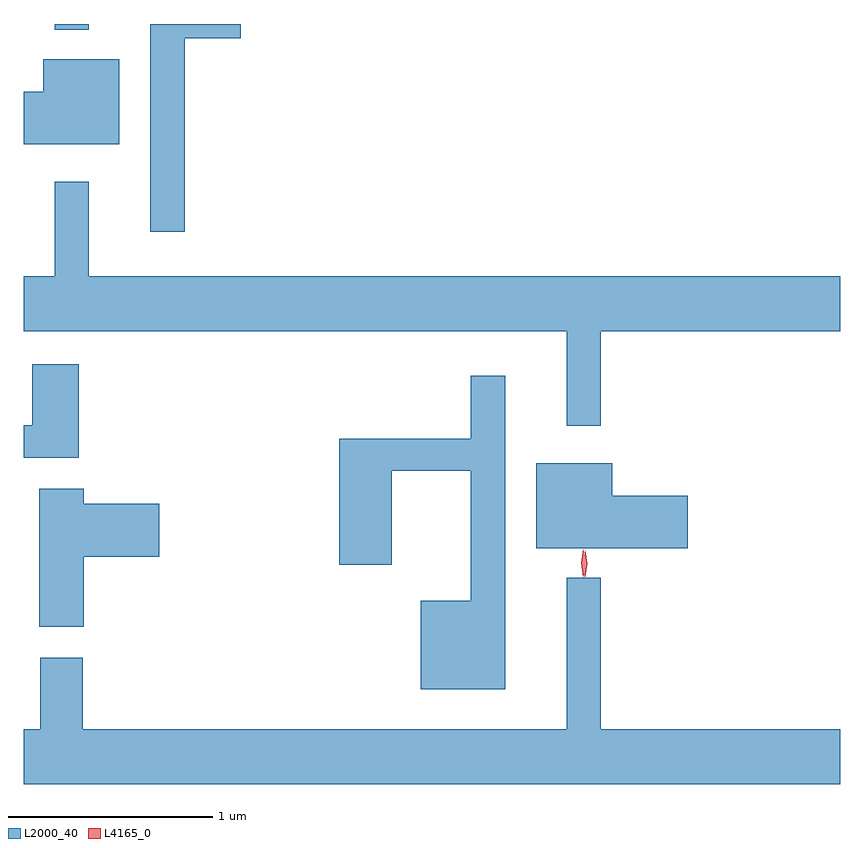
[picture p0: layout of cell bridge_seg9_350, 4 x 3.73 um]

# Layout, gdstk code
import gdstk
lib = gdstk.Library(unit=1e-6, precision=1e-09)
def R(c, l, rs):  # rectangles x0, y0, x1, y1
    for r in rs: c.add(gdstk.rectangle(r[:2], r[2:], *l))
def P(c, l, *ps):  # polygons
    for p in ps: c.add(gdstk.Polygon(p, *l))
L2000_40 = (2000, 40)
L4165_0 = (4165, 0)

bridge_seg9_350 = lib.new_cell('bridge_seg9_350')
R(bridge_seg9_350, L2000_40, [(744.821,1948.893,744.989,1948.921)])
P(bridge_seg9_350, L2000_40, [(745.459,1948.851),(745.734,1948.851),(745.734,1948.921),(745.291,1948.921),(745.291,1947.903),(745.459,1947.903)],
  [(745.139,1948.749),(744.766,1948.749),(744.766,1948.589),(744.671,1948.589),(744.671,1948.331),(745.139,1948.331)],
  [(747.499,1947.416),(748.671,1947.416),(748.671,1947.684),(744.989,1947.684),(744.989,1948.148),(744.821,1948.148),(744.821,1947.684),(744.671,1947.684),(744.671,1947.416),(747.331,1947.416),(747.331,1946.953),(747.499,1946.953)],
  [(744.939,1947.254),(744.711,1947.254),(744.711,1946.954),(744.671,1946.954),(744.671,1946.796),(744.939,1946.796)],
  [(747.029,1947.198),(746.861,1947.198),(746.861,1946.889),(746.216,1946.889),(746.216,1946.271),(746.474,1946.271),(746.474,1946.731),(746.861,1946.731),(746.861,1946.094),(746.616,1946.094),(746.616,1945.661),(747.029,1945.661)],
  [(747.924,1946.609),(747.554,1946.609),(747.554,1946.769),(747.181,1946.769),(747.181,1946.351),(747.924,1946.351)],
  [(744.964,1946.311),(745.334,1946.311),(745.334,1946.569),(744.964,1946.569),(744.964,1946.644),(744.746,1946.644),(744.746,1945.966),(744.964,1945.966)],
  [(748.671,1945.464),(747.499,1945.464),(747.499,1946.208),(747.331,1946.208),(747.331,1945.464),(744.959,1945.464),(744.959,1945.814),(744.751,1945.814),(744.751,1945.464),(744.671,1945.464),(744.671,1945.196),(748.671,1945.196)])
P(bridge_seg9_350, L4165_0, [(747.412,1946.21),(747.412,1946.21),(747.402,1946.278),(747.412,1946.346),(747.412,1946.346),(747.412,1946.346),(747.422,1946.278),(747.413,1946.21)],
  [(747.42,1946.213),(747.42,1946.213),(747.411,1946.276),(747.422,1946.339),(747.422,1946.34),(747.422,1946.339),(747.431,1946.276),(747.421,1946.213)])

lib.write_gds('bridge_seg9_350.gds')
